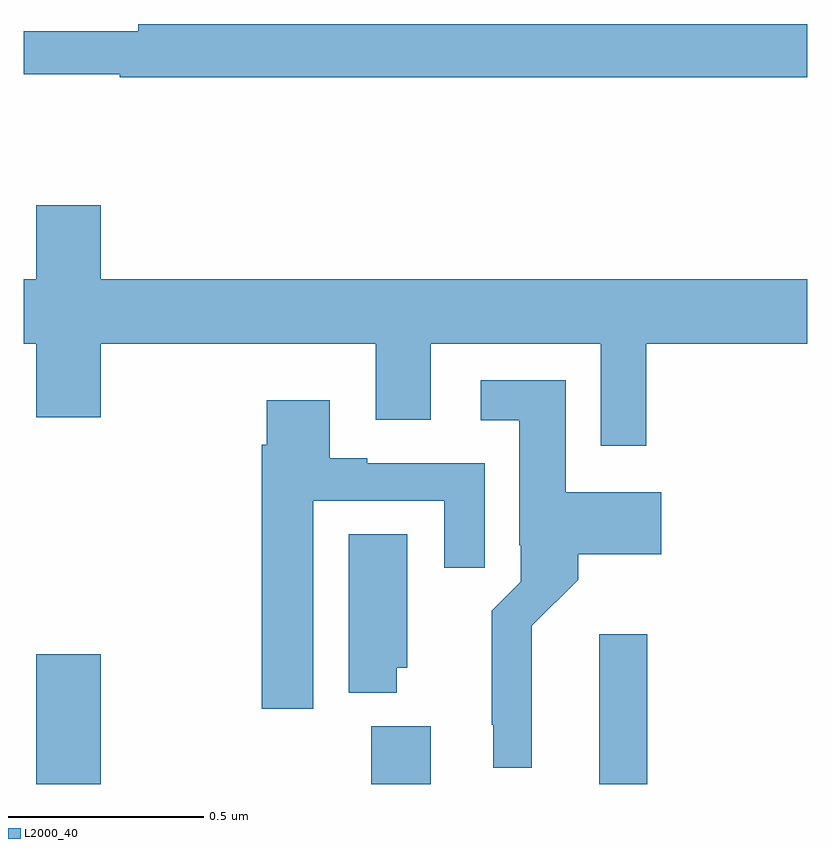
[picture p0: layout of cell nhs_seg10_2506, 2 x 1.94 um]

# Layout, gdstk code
import gdstk
lib = gdstk.Library(unit=1e-6, precision=1e-09)
def R(c, l, rs):  # rectangles x0, y0, x1, y1
    for r in rs: c.add(gdstk.rectangle(r[:2], r[2:], *l))
def P(c, l, *ps):  # polygons
    for p in ps: c.add(gdstk.Polygon(p, *l))
L2000_40 = (2000, 40)

nhs_seg10_2506 = lib.new_cell('nhs_seg10_2506')
R(nhs_seg10_2506, L2000_40, [(141.032,1324.5,141.196,1324.831), (141.887,1324.5,142.039,1324.648), (142.469,1324.5,142.592,1324.882)])
P(nhs_seg10_2506, L2000_40, [(143,1326.44),(141.292,1326.44),(141.292,1326.421),(141,1326.421),(141,1326.312),(141.245,1326.312),(141.245,1326.304),(143,1326.304)],
  [(142.589,1325.624),(143,1325.624),(143,1325.788),(141.196,1325.788),(141.196,1325.977),(141.032,1325.977),(141.032,1325.788),(141,1325.788),(141,1325.624),(141.032,1325.624),(141.032,1325.436),(141.196,1325.436),(141.196,1325.624),(141.899,1325.624),(141.899,1325.43),(142.039,1325.43),(142.039,1325.624),(142.473,1325.624),(142.473,1325.364),(142.589,1325.364)],
  [(142.297,1324.904),(142.415,1325.022),(142.415,1325.087),(142.627,1325.087),(142.627,1325.245),(142.384,1325.245),(142.384,1325.53),(142.167,1325.53),(142.167,1325.429),(142.265,1325.429),(142.265,1325.11),(142.269,1325.11),(142.269,1325.016),(142.195,1324.942),(142.195,1324.651),(142.199,1324.651),(142.199,1324.541),(142.297,1324.541)],
  [(141.739,1325.223),(142.073,1325.223),(142.073,1325.052),(142.177,1325.052),(142.177,1325.319),(141.877,1325.319),(141.877,1325.332),(141.781,1325.332),(141.781,1325.479),(141.62,1325.479),(141.62,1325.366),(141.608,1325.366),(141.608,1324.692),(141.739,1324.692)],
  [(141.952,1324.797),(141.979,1324.797),(141.979,1325.138),(141.83,1325.138),(141.83,1324.733),(141.952,1324.733)])

lib.write_gds('nhs_seg10_2506.gds')
